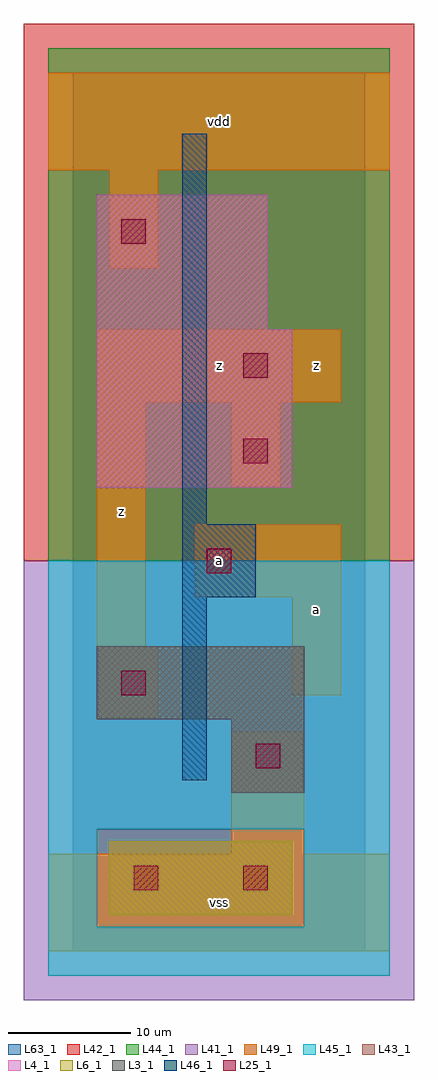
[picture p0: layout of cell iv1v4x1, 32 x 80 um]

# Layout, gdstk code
import gdstk
lib = gdstk.Library(unit=1e-6, precision=1e-09)
def R(c, l, rs):  # rectangles x0, y0, x1, y1
    for r in rs: c.add(gdstk.rectangle(r[:2], r[2:], *l))
L3_1 = (3, 1)
L4_1 = (4, 1)
L6_1 = (6, 1)
L25_1 = (25, 1)
L41_1 = (41, 1)
L42_1 = (42, 1)
L43_1 = (43, 1)
L44_1 = (44, 1)
L45_1 = (45, 1)
L46_1 = (46, 1)
L49_1 = (49, 1)
L63_1 = (63, 1)

iv1v4x1 = lib.new_cell('iv1v4x1')
R(iv1v4x1, L3_1, [(13,13,19,19), (2,19,19,25)])
R(iv1v4x1, L4_1, [(2,38,18,51), (2,51,16,62)])
R(iv1v4x1, L6_1, [(3,3,18,9), (3,3,18,9)])
R(iv1v4x1, L25_1, [(5,5,7,7), (14,5,16,7), (15,15,17,17), (4,21,6,23), (11,31,13,33), (14,40,16,42), (14,47,16,49), (4,58,6,60)])
R(iv1v4x1, L41_1, [(-4,-4,28,32)])
R(iv1v4x1, L42_1, [(-4,32,28,76)])
R(iv1v4x1, L43_1, [(3,3,18,9), (13,13,19,19), (2,19,19,25), (2,38,18,51), (2,51,16,62)])
R(iv1v4x1, L44_1, [(2,2,19,10), (-2,32,26,74)])
R(iv1v4x1, L45_1, [(-2,-2,26,2), (-2,2,2,10), (19,2,26,10), (-2,10,26,32)])
R(iv1v4x1, L46_1, [(9,14,11,29), (9,29,15,35), (9,35,11,67)])
R(iv1v4x1, L49_1, [(-2,0,26,8), (13,8,19,18), (2,19,7,25), (18,21,22,29), (2,25,6,45), (10,29,22,35), (13,38,17,45), (2,45,22,51), (3,56,7,64), (-2,64,26,72)])
R(iv1v4x1, L63_1, [(0,0,24,72)])
iv1v4x1.add(gdstk.Label('z', (4,36), layer=49, texttype=1))
iv1v4x1.add(gdstk.Label('vss', (12,4), layer=49, texttype=1))
iv1v4x1.add(gdstk.Label('a', (12,32), layer=49, texttype=1))
iv1v4x1.add(gdstk.Label('z', (12,48), layer=49, texttype=1))
iv1v4x1.add(gdstk.Label('vdd', (12,68), layer=49, texttype=1))
iv1v4x1.add(gdstk.Label('a', (20,28), layer=49, texttype=1))
iv1v4x1.add(gdstk.Label('z', (20,48), layer=49, texttype=1))

lib.write_gds('iv1v4x1.gds')
